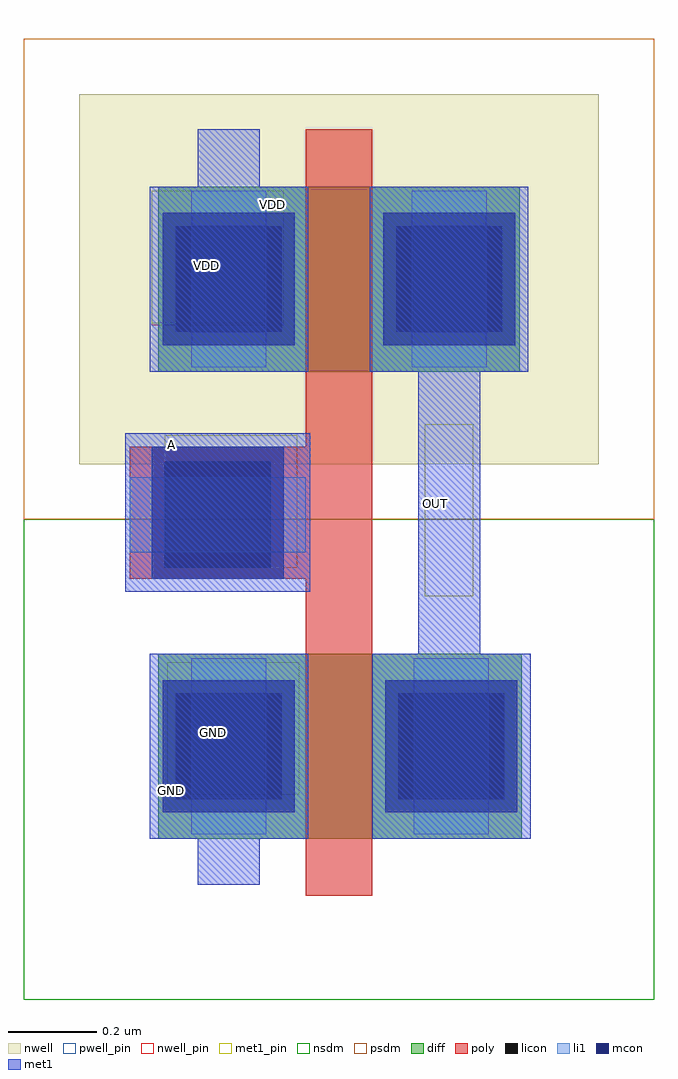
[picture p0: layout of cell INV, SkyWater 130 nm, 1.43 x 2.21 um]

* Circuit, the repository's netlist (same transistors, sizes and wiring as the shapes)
.SUBCKT INV A OUT VDD GND

* Width x Height = 1.18u x 1.82u
* NMOS
XND1 OUT A GND GND sky130_fd_pr__nfet_01v8 L=0.15 W=0.42

* PMOS
XPU1 OUT A VDD VDD sky130_fd_pr__pfet_01v8 L=0.15 W=0.42

.ENDS INV

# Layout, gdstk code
import gdstk
lib = gdstk.Library(unit=1e-6, precision=1e-09)
def R(c, l, rs):  # rectangles x0, y0, x1, y1
    for r in rs: c.add(gdstk.rectangle(r[:2], r[2:], *l))
def P(c, l, *ps):  # polygons
    for p in ps: c.add(gdstk.Polygon(p, *l))
nwell_pin = (64, 16)
nwell = (64, 20)
diff = (65, 20)
poly = (66, 20)
licon = (66, 44)
li1 = (67, 20)
mcon = (67, 44)
met1_pin = (68, 16)
met1 = (68, 20)
nsdm = (93, 44)
psdm = (94, 20)
pwell_pin = (122, 16)

inv = lib.new_cell('INV')
R(inv, nwell_pin, [(1.365,-0.015,1.665,0.29)])
R(inv, nwell, [(1.2,-0.33,2.38,0.51)])
R(inv, diff, [(1.38,-1.18,2.205,-0.76), (1.38,-0.12,2.2,0.3)])
R(inv, poly, [(1.715,-1.31,1.865,0.43), (1.315,-0.59,1.715,-0.29)])
R(inv, licon, [(1.42,-1.09,1.66,-0.85), (1.925,-1.09,2.165,-0.85), (1.395,-0.565,1.635,-0.325), (1.42,-0.03,1.66,0.21), (1.92,-0.03,2.16,0.21)])
R(inv, li1, [(1.455,-1.17,1.625,-0.77), (1.96,-1.17,2.13,-0.77), (1.315,-0.53,1.715,-0.36), (1.455,-0.11,1.625,0.29), (1.955,-0.11,2.125,0.29)])
R(inv, mcon, [(1.39,-1.12,1.69,-0.82), (1.895,-1.12,2.195,-0.82), (1.365,-0.59,1.665,-0.29), (1.39,-0.06,1.69,0.24), (1.89,-0.06,2.19,0.24)])
R(inv, met1_pin, [(1.4,-1.08,1.7,-0.78), (1.985,-0.63,2.095,-0.24), (1.395,-0.565,1.695,-0.265), (1.365,-0.01,1.665,0.29)])
P(inv, met1_pin, [(2.075,0.67),(2.075,0.67),(2.075,0.67),(2.075,0.67)])
R(inv, met1, [(1.47,-1.285,1.61,-0.975), (1.36,-1.18,1.72,-0.76), (1.865,-1.18,2.225,-0.76), (1.97,-0.98,2.11,0.14), (1.305,-0.62,1.725,-0.26), (1.36,-0.12,1.72,0.3), (1.86,-0.12,2.22,0.3), (1.47,0.085,1.61,0.43)])
R(inv, nsdm, [(1.075,-1.545,2.505,-0.455)])
R(inv, psdm, [(1.075,-0.455,2.505,0.635)])
R(inv, pwell_pin, [(1.4,-1.08,1.7,-0.78)])
inv.add(gdstk.Label('A', (1.41,-0.285), layer=68, texttype=16))
inv.add(gdstk.Label('VDD', (1.64,0.26), layer=68, texttype=16))
inv.add(gdstk.Label('OUT', (2.01,-0.42), layer=68, texttype=16))
inv.add(gdstk.Label('GND', (1.41,-1.07), layer=68, texttype=16))
inv.add(gdstk.Label('GND', (1.505,-0.94), layer=64, texttype=59))
inv.add(gdstk.Label('VDD', (1.49,0.12), layer=64, texttype=5))

lib.write_gds('INV.gds')
